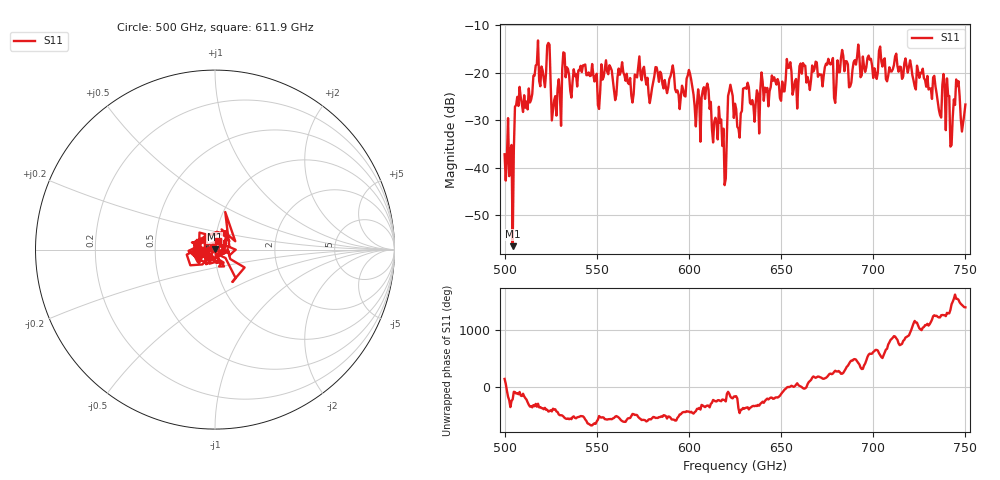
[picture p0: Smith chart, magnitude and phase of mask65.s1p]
!Created with skrf (http://scikit-rf.org).
# GHz S MA R 50.0
!freq magS11 angS11
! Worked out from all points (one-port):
!   401 points, 500 GHz to 750 GHz, reference 50 ohm
!   lowest |S11| = -56.5 dB at 504.4 GHz (marker M1), VSWR 1.00, Z = 49.9 + j0.0699 ohm
!   |S11| at or under -10 dB: start of sweep to end of sweep
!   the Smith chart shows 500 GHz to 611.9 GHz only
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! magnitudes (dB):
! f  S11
! 500 GHz  -37.2
! 504.4 GHz  -56.5
! 506.9 GHz  -25.1
! 513.8 GHz  -26.3
! 516.9 GHz  -18.5
! 523.8 GHz  -13.8
! 526.9 GHz  -25.9
! 531.2 GHz  -19.3
! 562.5 GHz  -20.5
! 579.4 GHz  -25.0
! 590.6 GHz  -19.7
! 593.8 GHz  -23.8
! 600 GHz  -19.5
! 605 GHz  -23.5
! 609.4 GHz  -23.2
! 619.4 GHz  -43.7
! 622.5 GHz  -22.6
! 625 GHz  -26.6
! 656.2 GHz  -24.7
! 683.8 GHz  -16.5
! 687.5 GHz  -22.9
! 691.2 GHz  -16.7
! 718.8 GHz  -20.0
! 735.6 GHz  -27.9
! 738.8 GHz  -22.9
! 743.1 GHz  -29.4
! 745 GHz  -21.5
! 750 GHz  -26.7
